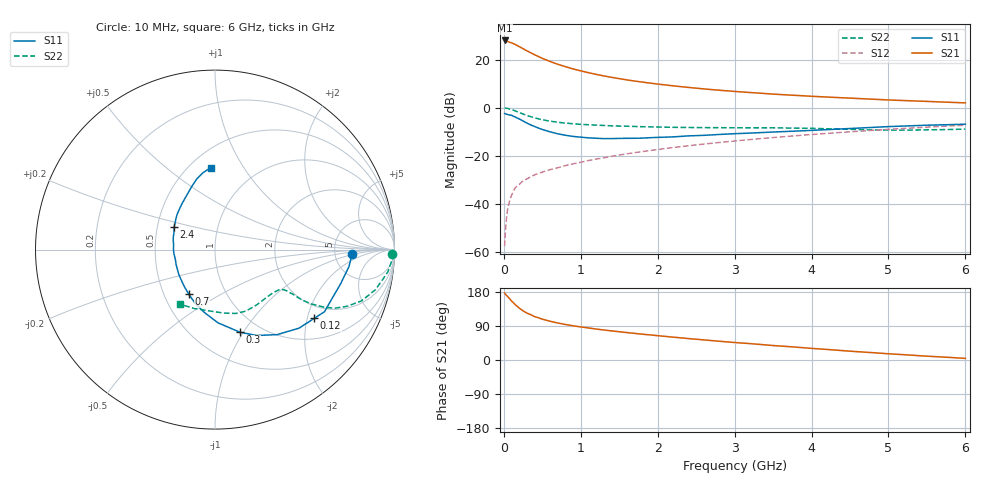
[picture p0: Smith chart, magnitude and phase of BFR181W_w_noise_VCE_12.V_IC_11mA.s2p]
! Infineon Technologies  Discrete & RF Semiconductors
! BFR181W
! VCE =  12. V,  IC =  11 mA
! Common Emitter S-Parameters:  Jan 2017
# GHz  S  MA  R  50
!  f  S11  S21  S12  S22
! GHz  MAG  ANG  MAG  ANG  MAG  ANG  MAG  ANG
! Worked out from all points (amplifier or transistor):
!   77 points, 10 MHz to 6 GHz, reference 50 ohm
!   highest |S21| = 28.1 dB at 10 MHz (marker M1)
!   |S21| within 3 dB of that: start of sweep to 225.1 MHz
!   unconditionally stable (mu >= 1): 1.096 GHz to 2.988 GHz
!   at 130 MHz: K = 0.28, MSG = 30.6 dB, |S12| = -34.4 dB
!   at 2.2 GHz: K = 1.05, MAG = 11.5 dB, |S12| = -16.6 dB
!   at 6 GHz: K = 0.85, MSG = 4.6 dB, |S12| = -7.2 dB
!   lowest NFmin = 1.29 dB at 450 MHz
!   S11 on the Smith chart (normalised r, x): 10 MHz: 7.38, -0.85; 120 MHz: 1.58, -2.21; 300 MHz: 0.81, -0.97; 700 MHz: 0.67, -0.36; 2.4 GHz: 0.61, +0.16; 6 GHz: 0.63, +0.72
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0.01  0.7642 -1.8  25.47 176.5  0.0013 69.7  0.9872 -1.3
0.02  0.7525 -7.2  25.06 173.7  0.0025 91.0  0.9913 -2.8
0.06  0.7174 -17.8  23.86 165.0  0.0091 79.0  0.9601 -8.7
0.1  0.7013 -29.6  22.77 155.7  0.0149 75.9  0.922 -14.0
0.12  0.6727 -34.7  21.97 151.9  0.0176 73.4  0.8975 -16.1
0.15  0.6408 -43.1  20.97 145.7  0.0217 70.9  0.8632 -19.4
0.2  0.5865 -53.9  18.95 136.9  0.0251 67.9  0.8011 -23.2
0.25  0.5309 -64.3  17.16 129.7  0.0302 65.2  0.7441 -26.0
0.3  0.4805 -73.2  15.46 123.8  0.033 63.8  0.693 -27.7
0.4  0.4082 -87.7  12.81 114.5  0.0401 62.2  0.6176 -29.4
0.5  0.3535 -100.1  10.78 107.8  0.0456 61.6  0.5644 -30.0
0.6  0.3163 -111.0  9.294 102.3  0.0514 62.4  0.5281 -30.0
0.7  0.288 -120.5  8.128 97.7  0.0561 63.8  0.5006 -29.8
0.9  0.2535 -137.8  6.492 90.3  0.0679 64.7  0.4656 -29.9
1.1  0.2365 -152.3  5.414 84.5  0.0796 66.4  0.4442 -30.3
1.5  0.2303 -175.4  4.065 74.6  0.1034 67.3  0.4171 -32.9
2.1  0.2446 160.5  3.004 62.3  0.1416 66.4  0.3952 -40.4
2.4  0.2599 151.3  2.669 56.5  0.162 65.5  0.3891 -45.3
3.1  0.293 134.6  2.145 44.7  0.2104 62.3  0.3835 -57.0
4.1  0.3447 116.6  1.712 29.3  0.285 56.0  0.3697 -74.0
5.1  0.4116 103.3  1.441 15.2  0.3634 48.2  0.3424 -98.3
6  0.4555 93.1  1.269 4.3  0.4357 40.0  0.361 -122.6
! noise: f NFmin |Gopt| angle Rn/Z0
0.45  1.29  0.12  17  0.21
0.9  1.33  0.12  31  0.21
1.9  1.76  0.04  -171  0.2
2.4  1.95  0.05  -122  0.25
